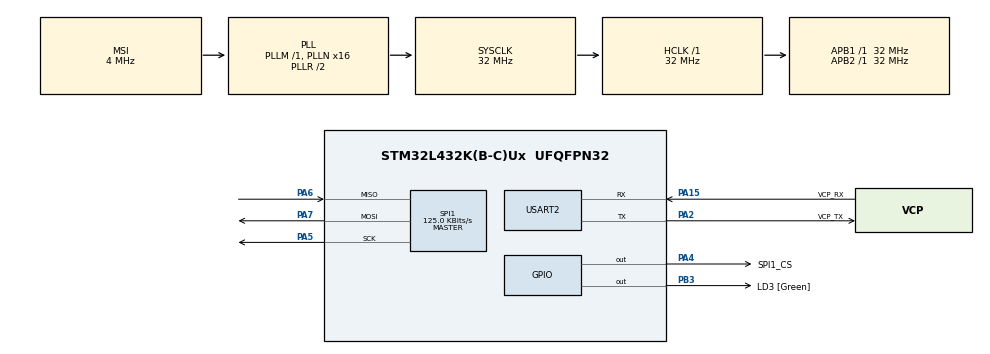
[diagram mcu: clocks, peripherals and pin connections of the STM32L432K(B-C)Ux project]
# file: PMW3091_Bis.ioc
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Mcu.Family=STM32L4
Mcu.Name=STM32L432K(B-C)Ux
Mcu.Package=UFQFPN32
NVIC.PriorityGroup=NVIC_PRIORITYGROUP_4
PA0.GPIO_Label=MCO [High speed clock in]
PA0.Mode=HSE-External-Clock-Source-for-LittleOrca
PA0.Signal=RCC_CK_IN
PA13\ (JTMS-SWDIO).GPIO_Label=SWDIO
PA13\ (JTMS-SWDIO).Mode=Serial_Wire
PA13\ (JTMS-SWDIO).Signal=SYS_JTMS-SWDIO
PA14\ (JTCK-SWCLK).GPIO_Label=SWCLK
PA14\ (JTCK-SWCLK).Mode=Serial_Wire
PA14\ (JTCK-SWCLK).Signal=SYS_JTCK-SWCLK
PA15\ (JTDI).GPIO_Label=VCP_RX
PA15\ (JTDI).Mode=Asynchronous
PA15\ (JTDI).Signal=USART2_RX
PA2.GPIO_Label=VCP_TX
PA2.Mode=Asynchronous
PA2.Signal=USART2_TX
PA4.GPIO_Label=SPI1_CS
PA4.Signal=GPIO_Output
PA5.Mode=Full_Duplex_Master
PA5.Signal=SPI1_SCK
PA6.Mode=Full_Duplex_Master
PA6.Signal=SPI1_MISO
PA7.Mode=Full_Duplex_Master
PA7.Signal=SPI1_MOSI
PB3\ (JTDO-TRACESWO).GPIO_Label=LD3 [Green]
PB3\ (JTDO-TRACESWO).Signal=GPIO_Output
PC14-OSC32_IN\ (PC14).Mode=LSE-External-Oscillator
PC14-OSC32_IN\ (PC14).Signal=RCC_OSC32_IN
PC15-OSC32_OUT\ (PC15).Mode=LSE-External-Oscillator
PC15-OSC32_OUT\ (PC15).Signal=RCC_OSC32_OUT
ProjectManager.HeapSize=0x200
ProjectManager.StackSize=0x400
ProjectManager.TargetToolchain=STM32CubeIDE
RCC.AHBFreq_Value=32000000
RCC.APB1Freq_Value=32000000
RCC.APB1TimFreq_Value=32000000
RCC.APB2Freq_Value=32000000
RCC.APB2TimFreq_Value=32000000
RCC.CortexFreq_Value=32000000
RCC.HCLKFreq_Value=32000000
RCC.HSE_VALUE=8000000
RCC.HSI16_VALUE=16000000
RCC.HSI48_VALUE=48000000
RCC.HSI_VALUE=16000000
RCC.MSI_VALUE=4000000
RCC.PLLMUL=RCC_PLLMUL_4
RCC.PLLN=16
RCC.SYSCLKFreq_VALUE=32000000
RCC.SYSCLKSource=RCC_SYSCLKSOURCE_PLLCLK
RCC.VCOOutputFreq_Value=64000000
SPI1.BaudRatePrescaler=SPI_BAUDRATEPRESCALER_256
SPI1.CalculateBaudRate=125.0 KBits/s
SPI1.DataSize=SPI_DATASIZE_8BIT
SPI1.Direction=SPI_DIRECTION_2LINES
SPI1.Mode=SPI_MODE_MASTER
SPI1.VirtualType=VM_MASTER
USART2.VirtualMode-Asynchronous=VM_ASYNC
board=NUCLEO-L432KC

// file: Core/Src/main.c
/* USER CODE BEGIN Header */
/**
  ******************************************************************************
  * @file           : main.c
  * @brief          : Main program body
  ******************************************************************************
  * @attention
  *
  * <h2><center>&copy; Copyright (c) 2022 STMicroelectronics.
  * All rights reserved.</center></h2>
  *
  * This software component is licensed by ST under BSD 3-Clause license,
  * the "License"; You may not use this file except in compliance with the
  * License. You may obtain a copy of the License at:
  *                        opensource.org/licenses/BSD-3-Clause
  *
  ******************************************************************************
  */
/* USER CODE END Header */
#include "main.h"

#include "stdio.h"

#include "../../PMW3901/PMW3901.h"

/* USER CODE BEGIN Includes */
#define COEF_CAPTEUR_BLEU_X  0.4762
#define COEF_CAPTEUR_BLEU_Y	 0.303
/* USER CODE END Includes */

SPI_HandleTypeDef hspi1;

UART_HandleTypeDef huart2;

/* USER CODE BEGIN PV */

char buffer[1024];
uint16_t Tx_len;
PMW3901_Status_t status;
int16_t var_x,var_y;

float posX = 0;
float posY = 0;
float dx = 0;
float dy = 0;

PMW3901_Descriptor_t PMW3901_Descriptor = {
		.hspi = &hspi1,
		.CS_Port = SPI1_CS_GPIO_Port,
		.CS_Pin = SPI1_CS_Pin
};

/* USER CODE END PV */

void SystemClock_Config(void);
static void MX_GPIO_Init(void);
static void MX_USART2_UART_Init(void);
static void MX_SPI1_Init(void);

int main(void)
{

  /* MCU Configuration--------------------------------------------------------*/

  /* Reset of all peripherals, Initializes the Flash interface and the Systick. */
  HAL_Init();

  /* Configure the system clock */
  SystemClock_Config();

  /* Initialize all configured peripherals */
  MX_GPIO_Init();
  MX_USART2_UART_Init();
  MX_SPI1_Init();
  /* USER CODE BEGIN 2 */
  Tx_len = sprintf (buffer, "init\r\n");
  HAL_UART_Transmit(&huart2,(uint8_t*) buffer, Tx_len, 100);

  status = PMW3901_Init(&PMW3901_Descriptor);
  Tx_len = sprintf (buffer, "init status = %d\r\n",status);
  HAL_UART_Transmit(&huart2, (uint8_t*)buffer, Tx_len, 100);
  /* USER CODE END 2 */

  /* Infinite loop */
  while (1)
  {

    /* USER CODE BEGIN 3 */
	  status = PMW3901_Read_Variation(&var_x, &var_y);

	  dx = COEF_CAPTEUR_BLEU_X * var_x;
	  posX = posX + dx;

	  dy = COEF_CAPTEUR_BLEU_Y * var_y;
	  posY = posY + dy;
  }
  /* USER CODE END 3 */
}

void SystemClock_Config(void)
{
  RCC_OscInitTypeDef RCC_OscInitStruct = {0};
  RCC_ClkInitTypeDef RCC_ClkInitStruct = {0};

  /** Configure the main internal regulator output voltage
  */
  if (HAL_PWREx_ControlVoltageScaling(PWR_REGULATOR_VOLTAGE_SCALE1) != HAL_OK)
  {
    Error_Handler();
  }
  /** Configure LSE Drive Capability
  */
  HAL_PWR_EnableBkUpAccess();
  __HAL_RCC_LSEDRIVE_CONFIG(RCC_LSEDRIVE_LOW);
  /** Initializes the RCC Oscillators according to the specified parameters
  * in the RCC_OscInitTypeDef structure.
  */
  RCC_OscInitStruct.OscillatorType = RCC_OSCILLATORTYPE_LSE|RCC_OSCILLATORTYPE_MSI;
  RCC_OscInitStruct.LSEState = RCC_LSE_ON;
  RCC_OscInitStruct.MSIState = RCC_MSI_ON;
  RCC_OscInitStruct.MSICalibrationValue = 0;
  RCC_OscInitStruct.MSIClockRange = RCC_MSIRANGE_6;
  RCC_OscInitStruct.PLL.PLLState = RCC_PLL_ON;
  RCC_OscInitStruct.PLL.PLLSource = RCC_PLLSOURCE_MSI;
  RCC_OscInitStruct.PLL.PLLM = 1;
  RCC_OscInitStruct.PLL.PLLN = 16;
  RCC_OscInitStruct.PLL.PLLP = RCC_PLLP_DIV7;
  RCC_OscInitStruct.PLL.PLLQ = RCC_PLLQ_DIV2;
  RCC_OscInitStruct.PLL.PLLR = RCC_PLLR_DIV2;
  if (HAL_RCC_OscConfig(&RCC_OscInitStruct) != HAL_OK)
  {
    Error_Handler();
  }
  /** Initializes the CPU, AHB and APB buses clocks
  */
  RCC_ClkInitStruct.ClockType = RCC_CLOCKTYPE_HCLK|RCC_CLOCKTYPE_SYSCLK
                              |RCC_CLOCKTYPE_PCLK1|RCC_CLOCKTYPE_PCLK2;
  RCC_ClkInitStruct.SYSCLKSource = RCC_SYSCLKSOURCE_PLLCLK;
  RCC_ClkInitStruct.AHBCLKDivider = RCC_SYSCLK_DIV1;
  RCC_ClkInitStruct.APB1CLKDivider = RCC_HCLK_DIV1;
  RCC_ClkInitStruct.APB2CLKDivider = RCC_HCLK_DIV1;

  if (HAL_RCC_ClockConfig(&RCC_ClkInitStruct, FLASH_LATENCY_1) != HAL_OK)
  {
    Error_Handler();
  }
  /** Enable MSI Auto calibration
  */
  HAL_RCCEx_EnableMSIPLLMode();
}

static void MX_SPI1_Init(void)
{

  /* SPI1 parameter configuration*/
  hspi1.Instance = SPI1;
  hspi1.Init.Mode = SPI_MODE_MASTER;
  hspi1.Init.Direction = SPI_DIRECTION_2LINES;
  hspi1.Init.DataSize = SPI_DATASIZE_8BIT;
  hspi1.Init.CLKPolarity = SPI_POLARITY_LOW;
  hspi1.Init.CLKPhase = SPI_PHASE_1EDGE;
  hspi1.Init.NSS = SPI_NSS_SOFT;
  hspi1.Init.BaudRatePrescaler = SPI_BAUDRATEPRESCALER_256;
  hspi1.Init.FirstBit = SPI_FIRSTBIT_MSB;
  hspi1.Init.TIMode = SPI_TIMODE_DISABLE;
  hspi1.Init.CRCCalculation = SPI_CRCCALCULATION_DISABLE;
  hspi1.Init.CRCPolynomial = 7;
  hspi1.Init.CRCLength = SPI_CRC_LENGTH_DATASIZE;
  hspi1.Init.NSSPMode = SPI_NSS_PULSE_ENABLE;
  if (HAL_SPI_Init(&hspi1) != HAL_OK)
  {
    Error_Handler();
  }

}

static void MX_USART2_UART_Init(void)
{

  huart2.Instance = USART2;
  huart2.Init.BaudRate = 115200;
  huart2.Init.WordLength = UART_WORDLENGTH_8B;
  huart2.Init.StopBits = UART_STOPBITS_1;
  huart2.Init.Parity = UART_PARITY_NONE;
  huart2.Init.Mode = UART_MODE_TX_RX;
  huart2.Init.HwFlowCtl = UART_HWCONTROL_NONE;
  huart2.Init.OverSampling = UART_OVERSAMPLING_16;
  huart2.Init.OneBitSampling = UART_ONE_BIT_SAMPLE_DISABLE;
  huart2.AdvancedInit.AdvFeatureInit = UART_ADVFEATURE_NO_INIT;
  if (HAL_UART_Init(&huart2) != HAL_OK)
  {
    Error_Handler();
  }

}

static void MX_GPIO_Init(void)
{
  GPIO_InitTypeDef GPIO_InitStruct = {0};

  /* GPIO Ports Clock Enable */
  __HAL_RCC_GPIOC_CLK_ENABLE();
  __HAL_RCC_GPIOA_CLK_ENABLE();
  __HAL_RCC_GPIOB_CLK_ENABLE();

  /*Configure GPIO pin Output Level */
  HAL_GPIO_WritePin(SPI1_CS_GPIO_Port, SPI1_CS_Pin, GPIO_PIN_RESET);

  /*Configure GPIO pin Output Level */
  HAL_GPIO_WritePin(LD3_GPIO_Port, LD3_Pin, GPIO_PIN_RESET);

  /*Configure GPIO pin : SPI1_CS_Pin */
  GPIO_InitStruct.Pin = SPI1_CS_Pin;
  GPIO_InitStruct.Mode = GPIO_MODE_OUTPUT_PP;
  GPIO_InitStruct.Pull = GPIO_NOPULL;
  GPIO_InitStruct.Speed = GPIO_SPEED_FREQ_LOW;
  HAL_GPIO_Init(SPI1_CS_GPIO_Port, &GPIO_InitStruct);

  /*Configure GPIO pin : LD3_Pin */
  GPIO_InitStruct.Pin = LD3_Pin;
  GPIO_InitStruct.Mode = GPIO_MODE_OUTPUT_PP;
  GPIO_InitStruct.Pull = GPIO_NOPULL;
  GPIO_InitStruct.Speed = GPIO_SPEED_FREQ_LOW;
  HAL_GPIO_Init(LD3_GPIO_Port, &GPIO_InitStruct);

}

void Error_Handler(void)
{
  __disable_irq();
  while (1)
  {
  }
}

/************************ (C) COPYRIGHT STMicroelectronics *****END OF FILE****/
